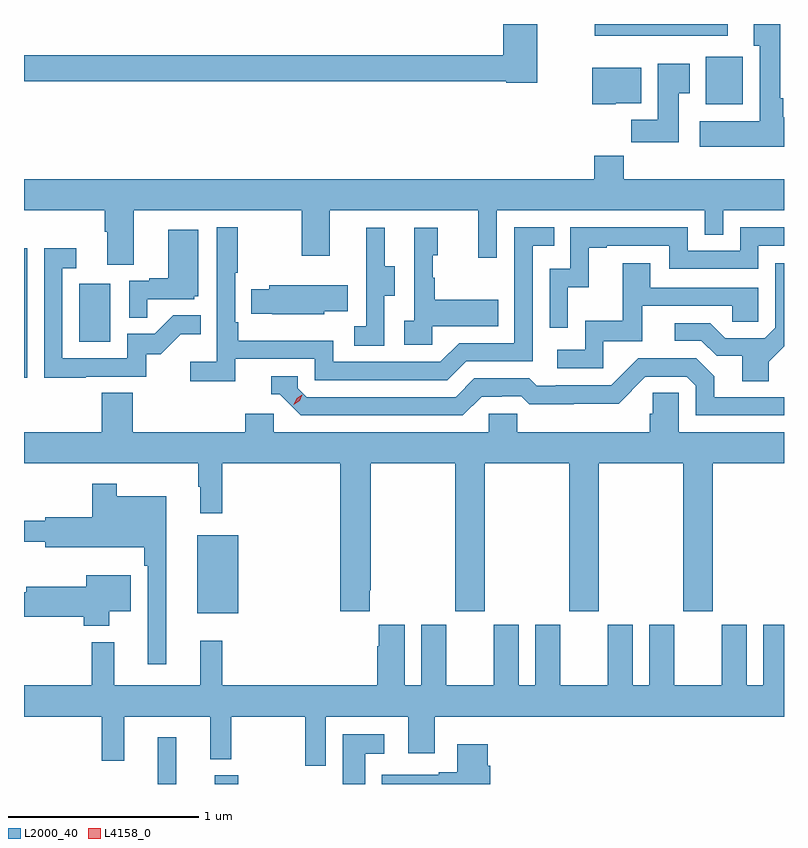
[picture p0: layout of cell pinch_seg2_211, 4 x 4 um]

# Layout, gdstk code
import gdstk
lib = gdstk.Library(unit=1e-6, precision=1e-09)
def R(c, l, rs):  # rectangles x0, y0, x1, y1
    for r in rs: c.add(gdstk.rectangle(r[:2], r[2:], *l))
def P(c, l, *ps):  # polygons
    for p in ps: c.add(gdstk.Polygon(p, *l))
L2000_40 = (2000, 40)
L4158_0 = (4158, 0)

pinch_seg2_211 = lib.new_cell('pinch_seg2_211')
R(pinch_seg2_211, L2000_40, [(972.26,656.605,972.357,656.851), (972.56,656.605,972.682,656.65), (972.467,657.503,972.682,657.913), (971.555,658.744,971.571,659.425), (971.846,658.932,972.01,659.239), (975.143,660.182,975.339,660.433), (974.56,660.542,975.259,660.605)])
P(pinch_seg2_211, L2000_40, [(974.256,660.605),(974.078,660.605),(974.078,660.44),(971.555,660.44),(971.555,660.304),(974.094,660.304),(974.094,660.296),(974.256,660.296)],
  [(975.555,660.114),(975.55,660.114),(975.55,660.214),(975.535,660.214),(975.535,660.604),(975.395,660.604),(975.395,660.491),(975.428,660.491),(975.428,660.094),(975.111,660.094),(975.111,659.96),(975.555,659.96)],
  [(975.001,660.241),(975.058,660.241),(975.058,660.397),(974.891,660.397),(974.891,660.1),(974.752,660.1),(974.752,659.982),(975.001,659.982)],
  [(974.67,660.188),(974.803,660.188),(974.803,660.376),(974.545,660.376),(974.545,660.182),(974.67,660.182)],
  [(972.133,659.624),(973.018,659.624),(973.018,659.385),(973.165,659.385),(973.165,659.624),(973.946,659.624),(973.946,659.376),(974.043,659.376),(974.043,659.624),(975.138,659.624),(975.138,659.497),(975.234,659.497),(975.234,659.624),(975.555,659.624),(975.555,659.788),(974.711,659.788),(974.711,659.912),(974.555,659.912),(974.555,659.788),(971.555,659.788),(971.555,659.624),(971.981,659.624),(971.981,659.512),(971.993,659.512),(971.993,659.338),(972.133,659.338)],
  [(972.668,658.842),(973.086,658.842),(973.086,658.731),(973.783,658.731),(973.882,658.83),(974.232,658.83),(974.232,659.439),(974.345,659.439),(974.345,659.535),(974.136,659.535),(974.136,658.926),(973.845,658.926),(973.746,658.827),(973.182,658.827),(973.182,658.939),(972.683,658.939),(972.683,659.035),(972.666,659.035),(972.666,659.296),(972.679,659.296),(972.679,659.536),(972.57,659.536),(972.57,658.828),(972.429,658.828),(972.429,658.726),(972.668,658.726)],
  [(974.418,659.219),(974.528,659.219),(974.528,659.427),(974.623,659.427),(974.623,659.439),(974.952,659.439),(974.952,659.316),(975.42,659.316),(975.42,659.439),(975.555,659.439),(975.555,659.535),(975.324,659.535),(975.324,659.412),(975.048,659.412),(975.048,659.535),(974.43,659.535),(974.43,659.316),(974.322,659.316),(974.322,659.007),(974.418,659.007)],
  [(973.704,659.015),(974.051,659.015),(974.051,659.155),(973.717,659.155),(973.717,659.27),(973.707,659.27),(973.707,659.388),(973.732,659.388),(973.732,659.533),(973.608,659.533),(973.608,659.042),(973.557,659.042),(973.557,658.917),(973.704,658.917)],
  [(973.452,659.176),(973.507,659.176),(973.507,659.331),(973.453,659.331),(973.453,659.533),(973.355,659.533),(973.355,659.319),(973.356,659.319),(973.356,659.015),(973.293,659.015),(973.293,658.912),(973.452,658.912)],
  [(972.203,659.157),(972.45,659.157),(972.45,659.172),(972.472,659.172),(972.472,659.521),(972.314,659.521),(972.314,659.266),(972.215,659.266),(972.215,659.253),(972.108,659.253),(972.108,659.059),(972.203,659.059)],
  [(971.879,658.749),(972.198,658.749),(972.198,658.866),(972.274,658.866),(972.381,658.973),(972.485,658.973),(972.485,659.072),(972.341,659.072),(972.243,658.974),(972.099,658.974),(972.099,658.845),(971.757,658.845),(971.757,659.319),(971.83,659.319),(971.83,659.425),(971.661,659.425),(971.661,658.744),(971.879,658.744)],
  [(974.604,658.935),(974.809,658.935),(974.809,659.121),(975.283,659.121),(975.283,659.037),(975.42,659.037),(975.42,659.217),(974.851,659.217),(974.851,659.347),(974.707,659.347),(974.707,659.044),(974.508,659.044),(974.508,658.89),(974.361,658.89),(974.361,658.794),(974.604,658.794)],
  [(975.475,658.828),(975.555,658.908),(975.555,659.347),(975.51,659.347),(975.51,659.007),(975.453,658.95),(975.247,658.95),(975.166,659.031),(974.979,659.031),(974.979,658.938),(975.12,658.938),(975.2,658.858),(975.335,658.858),(975.335,658.726),(975.475,658.726)],
  [(973.134,659.093),(973.259,659.093),(973.259,659.23),(972.845,659.23),(972.845,659.208),(972.751,659.208),(972.751,659.079),(972.862,659.079),(972.862,659.078),(973.134,659.078)],
  [(973.963,658.644),(974.07,658.644),(974.07,658.647),(974.173,658.647),(974.215,658.605),(974.448,658.605),(974.448,658.607),(974.684,658.607),(974.826,658.749),(975.042,658.749),(975.09,658.701),(975.09,658.545),(975.555,658.545),(975.555,658.641),(975.187,658.641),(975.187,658.751),(975.093,658.845),(974.787,658.845),(974.646,658.704),(974.353,658.704),(974.353,658.701),(974.254,658.701),(974.215,658.74),(973.926,658.74),(973.827,658.641),(973.044,658.641),(972.996,658.689),(972.996,658.752),(972.857,658.752),(972.857,658.656),(972.9,658.656),(973.011,658.545),(973.864,658.545)],
  [(973.375,657.625),(973.38,657.625),(973.38,658.292),(973.825,658.292),(973.825,657.513),(973.98,657.513),(973.98,658.292),(974.425,658.292),(974.425,657.513),(974.58,657.513),(974.58,658.292),(975.025,658.292),(975.025,657.513),(975.18,657.513),(975.18,658.292),(975.555,658.292),(975.555,658.456),(975,658.456),(975,658.664),(974.863,658.664),(974.863,658.554),(974.849,658.554),(974.849,658.456),(974.151,658.456),(974.151,658.554),(974.001,658.554),(974.001,658.456),(972.87,658.456),(972.87,658.554),(972.719,658.554),(972.719,658.456),(972.128,658.456),(972.128,658.664),(971.963,658.664),(971.963,658.456),(971.555,658.456),(971.555,658.292),(972.471,658.292),(972.471,658.169),(972.482,658.169),(972.482,658.029),(972.599,658.029),(972.599,658.292),(973.22,658.292),(973.22,657.513),(973.375,657.513)],
  [(972.304,658.12),(972.043,658.12),(972.043,658.186),(971.914,658.186),(971.914,658.009),(971.666,658.009),(971.666,657.991),(971.555,657.991),(971.555,657.88),(971.666,657.88),(971.666,657.851),(972.187,657.851),(972.187,657.755),(972.207,657.755),(972.207,657.234),(972.304,657.234)],
  [(972.004,657.515),(972.118,657.515),(972.118,657.703),(971.882,657.703),(971.882,657.643),(971.567,657.643),(971.567,657.613),(971.555,657.613),(971.555,657.484),(971.87,657.484),(971.87,657.437),(972.004,657.437)],
  [(973.143,656.96),(973.577,656.96),(973.577,656.766),(973.717,656.766),(973.717,656.96),(975.555,656.96),(975.555,657.442),(975.446,657.442),(975.446,657.124),(975.358,657.124),(975.358,657.442),(975.227,657.442),(975.227,657.124),(974.977,657.124),(974.977,657.442),(974.846,657.442),(974.846,657.124),(974.758,657.124),(974.758,657.442),(974.627,657.442),(974.627,657.124),(974.377,657.124),(974.377,657.442),(974.246,657.442),(974.246,657.124),(974.158,657.124),(974.158,657.442),(974.027,657.442),(974.027,657.124),(973.777,657.124),(973.777,657.442),(973.646,657.442),(973.646,657.124),(973.558,657.124),(973.558,657.442),(973.421,657.442),(973.421,657.329),(973.415,657.329),(973.415,657.124),(972.599,657.124),(972.599,657.358),(972.482,657.358),(972.482,657.124),(972.029,657.124),(972.029,657.352),(971.911,657.352),(971.911,657.124),(971.555,657.124),(971.555,656.96),(971.965,656.96),(971.965,656.727),(972.083,656.727),(972.083,656.96),(972.536,656.96),(972.536,656.735),(972.646,656.735),(972.646,656.96),(973.035,656.96),(973.035,656.7),(973.143,656.7)],
  [(973.351,656.765),(973.45,656.765),(973.45,656.866),(973.232,656.866),(973.232,656.605),(973.351,656.605)],
  [(974.009,656.702),(973.996,656.702),(973.996,656.815),(973.835,656.815),(973.835,656.668),(973.739,656.668),(973.739,656.655),(973.439,656.655),(973.439,656.605),(974.009,656.605)])
P(pinch_seg2_211, L4158_0, [(972.974,658.601),(972.974,658.602),(972.99,658.635),(973.02,658.655),(973.02,658.655),(973.02,658.655),(973.005,658.622),(972.975,658.601)])

lib.write_gds('pinch_seg2_211.gds')
